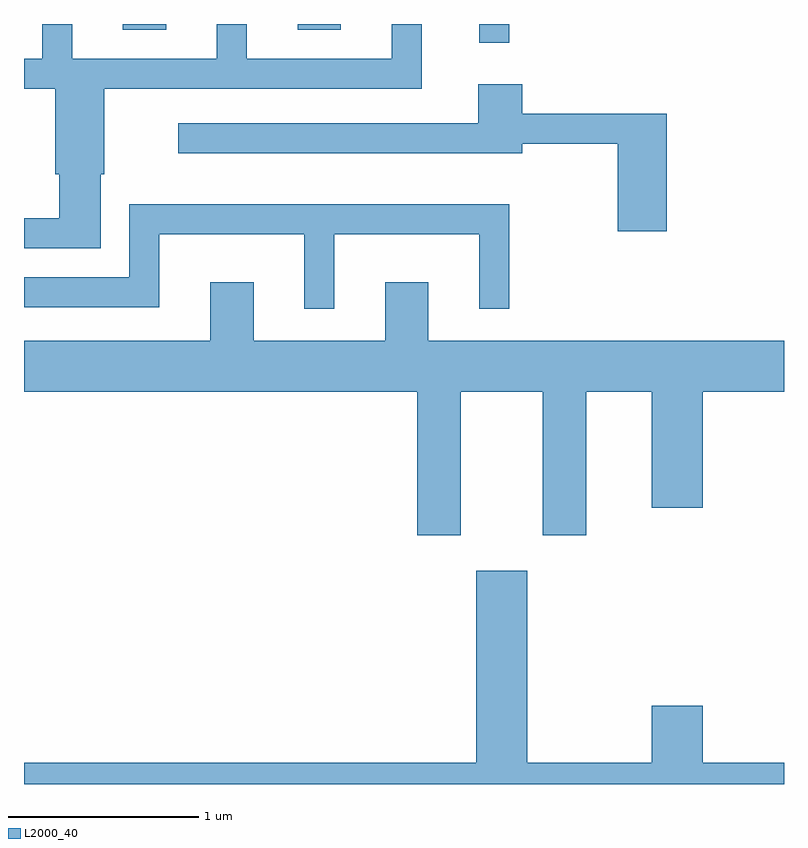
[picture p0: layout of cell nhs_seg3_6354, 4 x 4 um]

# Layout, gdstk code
import gdstk
lib = gdstk.Library(unit=1e-6, precision=1e-09)
def R(c, l, rs):  # rectangles x0, y0, x1, y1
    for r in rs: c.add(gdstk.rectangle(r[:2], r[2:], *l))
def P(c, l, *ps):  # polygons
    for p in ps: c.add(gdstk.Polygon(p, *l))
L2000_40 = (2000, 40)

nhs_seg3_6354 = lib.new_cell('nhs_seg3_6354')
R(nhs_seg3_6354, L2000_40, [(374.006,1187.793,374.164,1187.892), (372.131,1187.861,372.359,1187.892), (373.051,1187.861,373.279,1187.892)])
P(nhs_seg3_6354, L2000_40, [(372.014,1187.101),(372.034,1187.101),(372.034,1187.551),(373.704,1187.551),(373.704,1187.892),(373.546,1187.892),(373.546,1187.709),(372.784,1187.709),(372.784,1187.892),(372.626,1187.892),(372.626,1187.709),(371.864,1187.709),(371.864,1187.892),(371.706,1187.892),(371.706,1187.709),(371.611,1187.709),(371.611,1187.551),(371.776,1187.551),(371.776,1187.101),(371.796,1187.101),(371.796,1186.869),(371.611,1186.869),(371.611,1186.711),(372.014,1186.711)],
  [(374.994,1187.419),(374.234,1187.419),(374.234,1187.574),(374.001,1187.574),(374.001,1187.369),(372.423,1187.369),(372.423,1187.211),(374.234,1187.211),(374.234,1187.261),(374.736,1187.261),(374.736,1186.801),(374.994,1186.801)],
  [(373.244,1186.786),(374.006,1186.786),(374.006,1186.393),(374.164,1186.393),(374.164,1186.944),(372.166,1186.944),(372.166,1186.559),(371.611,1186.559),(371.611,1186.401),(372.324,1186.401),(372.324,1186.786),(373.086,1186.786),(373.086,1186.393),(373.244,1186.393)],
  [(373.909,1185.956),(374.341,1185.956),(374.341,1185.201),(374.569,1185.201),(374.569,1185.956),(374.916,1185.956),(374.916,1185.346),(375.184,1185.346),(375.184,1185.956),(375.611,1185.956),(375.611,1186.224),(373.739,1186.224),(373.739,1186.534),(373.511,1186.534),(373.511,1186.224),(372.819,1186.224),(372.819,1186.534),(372.591,1186.534),(372.591,1186.224),(371.611,1186.224),(371.611,1185.956),(373.681,1185.956),(373.681,1185.201),(373.909,1185.201)],
  [(375.611,1184.004),(375.184,1184.004),(375.184,1184.304),(374.916,1184.304),(374.916,1184.004),(374.259,1184.004),(374.259,1185.014),(373.991,1185.014),(373.991,1184.004),(371.611,1184.004),(371.611,1183.892),(375.611,1183.892)])

lib.write_gds('nhs_seg3_6354.gds')
